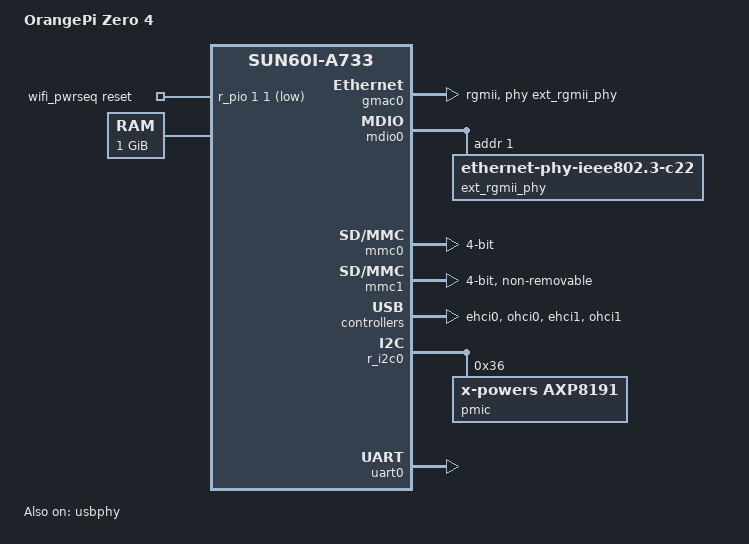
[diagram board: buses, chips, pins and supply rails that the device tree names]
// SPDX-License-Identifier: (GPL-2.0-only OR MIT)
/*
 * Orange Pi Zero 4.
 *
 * The vendor boot loader hands over with the console UART and the
 * microSD pins already configured and the card powered.
 */

/dts-v1/;

#include "sun60i-a733.dtsi"

#include <dt-bindings/gpio/gpio.h>

/ {
	model = "OrangePi Zero 4";
	compatible = "xunlong,orangepi-zero4", "allwinner,sun60i-a733";

	aliases {
		serial0 = &uart0;
	};

	chosen {
		stdout-path = "serial0:115200n8";
	};

	/* The enable pin of the AIC8800 wireless module: PM1. */
	wifi_pwrseq: wifi-pwrseq {
		compatible = "mmc-pwrseq-simple";
		reset-gpios = <&r_pio 1 1 GPIO_ACTIVE_LOW>;
	};

	/* The boot loader replaces the size with what it trained. */
	memory@40000000 {
		device_type = "memory";
		reg = <0x0 0x40000000 0x0 0x40000000>;
	};
};

/*
 * The MAC delays both RGMII clocks and the PHY adds nothing. Measured on
 * the board with 32 MiB of random data per 100 ps step: transmit works
 * from 0 to 1300 ps, receive from 1200 to 2700 ps. The values below are
 * the middles of those windows. The vendor's 1200 and 1000 ps sit on the
 * edge of the first window and outside the second.
 */
&gmac0 {
	phy-mode = "rgmii";
	phy-handle = <&ext_rgmii_phy>;
	pinctrl-names = "default";
	pinctrl-0 = <&gmac0_rgmii_pins>;
	allwinner,tx-delay-ps = <600>;
	allwinner,rx-delay-ps = <2000>;
	status = "okay";
};

&mdio0 {
	/* Motorcomm YT8531 */
	ext_rgmii_phy: ethernet-phy@1 {
		compatible = "ethernet-phy-ieee802.3-c22";
		reg = <1>;
	};
};

&mmc0 {
	pinctrl-names = "default";
	pinctrl-0 = <&mmc0_pins>;
	bus-width = <4>;
	/* PMIC rails are not described yet: stay at 3.3 V signalling. */
	max-frequency = <50000000>;
	broken-cd;
	status = "okay";
};

/*
 * The AIC8800 wireless module. Its pins run at 1.8 V; the boot loader
 * leaves that supply on.
 */
&mmc1 {
	pinctrl-names = "default";
	pinctrl-0 = <&mmc1_pins>;
	bus-width = <4>;
	max-frequency = <50000000>;
	non-removable;
	mmc-pwrseq = <&wifi_pwrseq>;
	status = "okay";
};

/* Two USB 2.0 host ports; the boot loader leaves their power on. */
&usbphy {
	status = "okay";
};

&ehci0 {
	status = "okay";
};

&ohci0 {
	status = "okay";
};

&ehci1 {
	status = "okay";
};

&ohci1 {
	status = "okay";
};

/*
 * The power management chip. The vendor tree also lists an AXP515 at
 * 0x34; this board does not carry one.
 */
&r_i2c0 {
	status = "okay";

	pmic@36 {
		compatible = "x-powers,axp8191";
		reg = <0x36>;
	};
};

&uart0 {
	pinctrl-names = "default";
	pinctrl-0 = <&uart0_pb_pins>;
	status = "okay";
};
